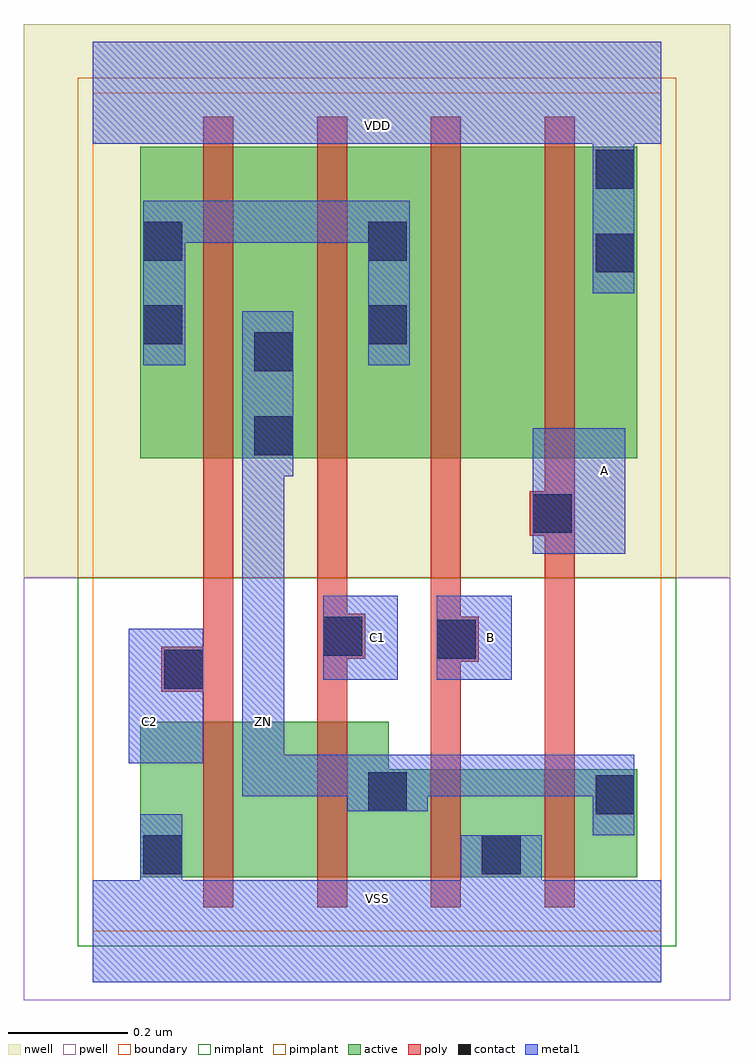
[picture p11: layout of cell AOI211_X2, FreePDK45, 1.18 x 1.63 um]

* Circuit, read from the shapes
.subckt AOI211_X2 A B C1 C2 VDD VSS ZN
M1 n1 C2 VSS VSUBS nfet w=0.26u l=0.05u
M2 ZN C1 n1 VSUBS nfet w=0.26u l=0.05u
M3 VSS B ZN VSUBS nfet w=0.18u l=0.05u
M4 ZN A VSS VSUBS nfet w=0.18u l=0.05u
M5 ZN C2 n2 n3 pfet w=0.52u l=0.05u
M6 n2 C1 ZN n3 pfet w=0.52u l=0.05u
M7 n4 B n2 n3 pfet w=0.52u l=0.05u
M8 VDD A n4 n3 pfet w=0.52u l=0.05u
.ends

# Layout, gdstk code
import gdstk
lib = gdstk.Library(unit=1e-6, precision=1e-10)
def R(c, l, rs):  # rectangles x0, y0, x1, y1
    for r in rs: c.add(gdstk.rectangle(r[:2], r[2:], *l))
def P(c, l, *ps):  # polygons
    for p in ps: c.add(gdstk.Polygon(p, *l))
active = (1, 0)
pwell = (2, 0)
nwell = (3, 0)
nimplant = (4, 0)
pimplant = (5, 0)
poly = (9, 0)
contact = (10, 0)
metal1 = (11, 0)
boundary = (235, 0)

aoi211_x2 = lib.new_cell('AOI211_X2')
R(aoi211_x2, active, [(0.08,0.79,0.91,1.31)])
P(aoi211_x2, active, [(0.08,0.09),(0.91,0.09),(0.91,0.27),(0.495,0.27),(0.495,0.35),(0.08,0.35)])
R(aoi211_x2, pwell, [(-0.115,-0.115,1.065,0.59)])
R(aoi211_x2, nwell, [(-0.115,0.59,1.065,1.515)])
R(aoi211_x2, nimplant, [(-0.025,-0.025,0.975,0.59)])
R(aoi211_x2, pimplant, [(-0.025,0.59,0.975,1.425)])
P(aoi211_x2, poly, [(0.115,0.4),(0.185,0.4),(0.185,0.04),(0.235,0.04),(0.235,1.36),(0.185,1.36),(0.185,0.475),(0.115,0.475)],
  [(0.375,0.04),(0.425,0.04),(0.425,0.455),(0.455,0.455),(0.455,0.53),(0.425,0.53),(0.425,1.36),(0.375,1.36)],
  [(0.565,0.04),(0.615,0.04),(0.615,0.45),(0.645,0.45),(0.645,0.525),(0.615,0.525),(0.615,1.36),(0.565,1.36)],
  [(0.73,0.66),(0.755,0.66),(0.755,0.04),(0.805,0.04),(0.805,1.36),(0.755,1.36),(0.755,0.735),(0.73,0.735)])
R(aoi211_x2, contact, [(0.085,0.095,0.15,0.16), (0.65,0.095,0.715,0.16), (0.84,0.195,0.905,0.26), (0.46,0.2,0.525,0.265), (0.12,0.405,0.185,0.47), (0.575,0.455,0.64,0.52), (0.385,0.46,0.45,0.525), (0.735,0.665,0.8,0.73), (0.27,0.795,0.335,0.86), (0.27,0.935,0.335,1), (0.085,0.98,0.15,1.045), (0.46,0.98,0.525,1.045), (0.84,1.1,0.905,1.165), (0.085,1.12,0.15,1.185), (0.46,1.12,0.525,1.185), (0.84,1.24,0.905,1.305)])
R(aoi211_x2, metal1, [(0.06,0.28,0.185,0.505), (0.385,0.42,0.51,0.56), (0.575,0.42,0.7,0.56), (0.735,0.63,0.89,0.84)])
P(aoi211_x2, metal1, [(0.085,0.945),(0.155,0.945),(0.155,1.15),(0.46,1.15),(0.46,0.945),(0.53,0.945),(0.53,1.22),(0.085,1.22)],
  [(0.25,0.225),(0.425,0.225),(0.425,0.2),(0.56,0.2),(0.56,0.225),(0.835,0.225),(0.835,0.16),(0.905,0.16),(0.905,0.295),(0.32,0.295),(0.32,0.76),(0.335,0.76),(0.335,1.035),(0.25,1.035)],
  [(0,-0.085),(0.95,-0.085),(0.95,0.085),(0.75,0.085),(0.75,0.16),(0.615,0.16),(0.615,0.085),(0.15,0.085),(0.15,0.195),(0.08,0.195),(0.08,0.085),(0,0.085)],
  [(0,1.315),(0.835,1.315),(0.835,1.065),(0.905,1.065),(0.905,1.315),(0.95,1.315),(0.95,1.485),(0,1.485)])
R(aoi211_x2, boundary, [(0,0,0.95,1.4)])
aoi211_x2.add(gdstk.Label('A', (0.855,0.77), layer=11, texttype=0))
aoi211_x2.add(gdstk.Label('B', (0.665,0.49), layer=11, texttype=0))
aoi211_x2.add(gdstk.Label('C1', (0.475,0.49), layer=11, texttype=0))
aoi211_x2.add(gdstk.Label('C2', (0.095,0.35), layer=11, texttype=0))
aoi211_x2.add(gdstk.Label('VDD', (0.475,1.345), layer=11, texttype=0))
aoi211_x2.add(gdstk.Label('VSS', (0.475,0.055), layer=11, texttype=0))
aoi211_x2.add(gdstk.Label('ZN', (0.285,0.35), layer=11, texttype=0))

lib.write_gds('AOI211_X2.gds')
